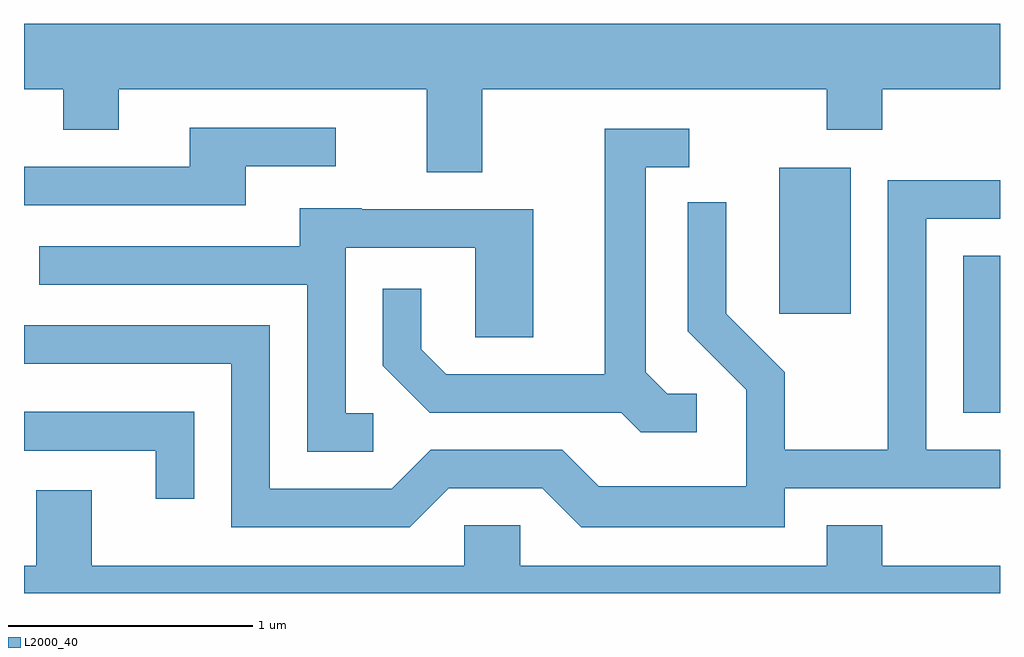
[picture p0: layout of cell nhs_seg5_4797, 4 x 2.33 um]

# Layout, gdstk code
import gdstk
lib = gdstk.Library(unit=1e-6, precision=1e-09)
def R(c, l, rs):  # rectangles x0, y0, x1, y1
    for r in rs: c.add(gdstk.rectangle(r[:2], r[2:], *l))
def P(c, l, *ps):  # polygons
    for p in ps: c.add(gdstk.Polygon(p, *l))
L2000_40 = (2000, 40)

nhs_seg5_4797 = lib.new_cell('nhs_seg5_4797')
R(nhs_seg5_4797, L2000_40, [(331.461,1448.811,331.611,1449.454), (330.706,1449.216,330.999,1449.814)])
P(nhs_seg5_4797, L2000_40, [(327.611,1450.136),(327.771,1450.136),(327.771,1449.971),(327.999,1449.971),(327.999,1450.136),(329.261,1450.136),(329.261,1449.796),(329.489,1449.796),(329.489,1450.136),(330.901,1450.136),(330.901,1449.971),(331.129,1449.971),(331.129,1450.136),(331.611,1450.136),(331.611,1450.404),(327.611,1450.404)],
  [(328.519,1449.821),(328.888,1449.821),(328.888,1449.979),(328.291,1449.979),(328.291,1449.819),(327.611,1449.819),(327.611,1449.661),(328.519,1449.661)],
  [(330.368,1448.889),(330.247,1448.889),(330.159,1448.977),(330.159,1449.816),(330.338,1449.816),(330.338,1449.974),(329.991,1449.974),(329.991,1448.969),(329.342,1448.969),(329.239,1449.072),(329.239,1449.318),(329.081,1449.318),(329.081,1449.004),(329.274,1448.811),(330.059,1448.811),(330.139,1448.731),(330.368,1448.731)],
  [(329.352,1448.501),(329.734,1448.501),(329.894,1448.341),(330.729,1448.341),(330.729,1448.501),(331.611,1448.501),(331.611,1448.659),(331.309,1448.659),(331.309,1449.606),(331.611,1449.606),(331.611,1449.764),(331.151,1449.764),(331.151,1448.659),(330.729,1448.659),(330.729,1448.977),(330.489,1449.217),(330.489,1449.673),(330.331,1449.673),(330.331,1449.144),(330.571,1448.904),(330.571,1448.509),(329.967,1448.509),(329.817,1448.659),(329.279,1448.659),(329.119,1448.499),(328.619,1448.499),(328.619,1449.169),(327.611,1449.169),(327.611,1449.011),(328.461,1449.011),(328.461,1448.341),(329.192,1448.341)],
  [(329.043,1448.809),(328.929,1448.809),(328.929,1449.486),(329.461,1449.486),(329.461,1449.121),(329.699,1449.121),(329.699,1449.644),(328.995,1449.644),(328.995,1449.649),(328.741,1449.649),(328.741,1449.494),(327.673,1449.494),(327.673,1449.336),(328.771,1449.336),(328.771,1448.651),(329.043,1448.651)],
  [(328.309,1448.814),(327.611,1448.814),(327.611,1448.656),(328.151,1448.656),(328.151,1448.458),(328.309,1448.458)],
  [(331.611,1448.184),(331.129,1448.184),(331.129,1448.349),(330.901,1448.349),(330.901,1448.184),(329.644,1448.184),(329.644,1448.349),(329.416,1448.349),(329.416,1448.184),(327.889,1448.184),(327.889,1448.494),(327.661,1448.494),(327.661,1448.184),(327.611,1448.184),(327.611,1448.072),(331.611,1448.072)])

lib.write_gds('nhs_seg5_4797.gds')
